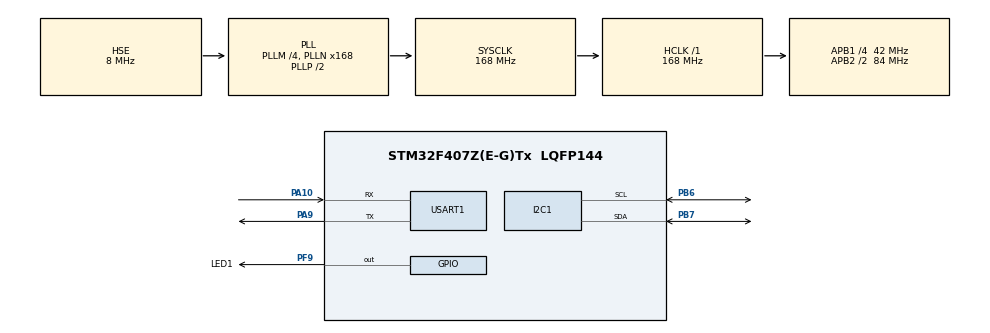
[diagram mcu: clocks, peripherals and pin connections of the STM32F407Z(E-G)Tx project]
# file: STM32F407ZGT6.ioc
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Mcu.Family=STM32F4
Mcu.Name=STM32F407Z(E-G)Tx
Mcu.Package=LQFP144
NVIC.I2C1_EV_IRQn=true\:0\:0\:false\:false\:true\:true\:true
NVIC.PriorityGroup=NVIC_PRIORITYGROUP_4
PA10.Mode=Asynchronous
PA10.Signal=USART1_RX
PA13.Mode=Serial_Wire
PA13.Signal=SYS_JTMS-SWDIO
PA14.Mode=Serial_Wire
PA14.Signal=SYS_JTCK-SWCLK
PA9.Mode=Asynchronous
PA9.Signal=USART1_TX
PB6.GPIO_Pu=GPIO_NOPULL
PB6.Mode=I2C
PB6.Signal=I2C1_SCL
PB7.Mode=I2C
PB7.Signal=I2C1_SDA
PC14-OSC32_IN.Mode=LSE-External-Oscillator
PC14-OSC32_IN.Signal=RCC_OSC32_IN
PC15-OSC32_OUT.Mode=LSE-External-Oscillator
PC15-OSC32_OUT.Signal=RCC_OSC32_OUT
PF9.GPIO_Label=LED1
PF9.Signal=GPIO_Output
PH0-OSC_IN.Mode=HSE-External-Oscillator
PH0-OSC_IN.Signal=RCC_OSC_IN
PH1-OSC_OUT.Mode=HSE-External-Oscillator
PH1-OSC_OUT.Signal=RCC_OSC_OUT
ProjectManager.HeapSize=0x200
ProjectManager.StackSize=0x1000
ProjectManager.TargetToolchain=MDK-ARM V5.32
RCC.48MHZClocksFreq_Value=112000000
RCC.AHBFreq_Value=168000000
RCC.APB1CLKDivider=RCC_HCLK_DIV4
RCC.APB1Freq_Value=42000000
RCC.APB1TimFreq_Value=84000000
RCC.APB2CLKDivider=RCC_HCLK_DIV2
RCC.APB2Freq_Value=84000000
RCC.APB2TimFreq_Value=168000000
RCC.CortexFreq_Value=168000000
RCC.HCLKFreq_Value=168000000
RCC.HSE_VALUE=8000000
RCC.HSI_VALUE=16000000
RCC.PLLM=4
RCC.PLLN=168
RCC.PLLQ=3
RCC.PLLSourceVirtual=RCC_PLLSOURCE_HSE
RCC.RCC_RTC_Clock_Source=RCC_RTCCLKSOURCE_LSE
RCC.RCC_RTC_Clock_SourceVirtual=RCC_RTCCLKSOURCE_LSE
RCC.SYSCLKFreq_VALUE=168000000
RCC.SYSCLKSource=RCC_SYSCLKSOURCE_PLLCLK
RCC.VCOOutputFreq_Value=336000000
USART1.VirtualMode=VM_ASYNC
board=custom

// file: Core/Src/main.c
/* USER CODE BEGIN Header */
/**
 ******************************************************************************
 * @file           : main.c
 * @brief          : Main program body
 ******************************************************************************
 * @attention
 *
 * Copyright (c) 2021 STMicroelectronics.
 * All rights reserved.
 *
 * This software is licensed under terms that can be found in the LICENSE file
 * in the root directory of this software component.
 * If no LICENSE file comes with this software, it is provided AS-IS.
 *
 ******************************************************************************
 */
/* USER CODE END Header */
#include "main.h"
#include "i2c.h"
#include "usart.h"
#include "gpio.h"

/* USER CODE BEGIN Includes */
#include <stdio.h>

/* USER CODE END Includes */

/* USER CODE BEGIN PD */
#define WHO_AM_I_REG 0x75
#define MPU6050_ADDR 0xd0
#define MPU6050_ID 0x68
/* USER CODE END PD */

/* USER CODE BEGIN PV */
uint8_t TBuffer[10];
uint8_t RBuffer[10];

/* USER CODE END PV */

void SystemClock_Config(void);

int main(void)
{

  /* MCU Configuration--------------------------------------------------------*/

  /* Reset of all peripherals, Initializes the Flash interface and the Systick. */
  HAL_Init();

  /* Configure the system clock */
  SystemClock_Config();

  /* Initialize all configured peripherals */
  MX_GPIO_Init();
  MX_USART1_UART_Init();
  MX_I2C1_Init();
  /* USER CODE BEGIN 2 */
  char a[1] = {0};
  scanf("%c", a);
  printf("Hello World!\r\n");

  uint8_t check = 0;
  if (HAL_I2C_Mem_Read(&hi2c1, MPU6050_ADDR, WHO_AM_I_REG, 1, &check, 1, 1000) == HAL_OK)
  {
    printf("OK: %x.\r\n", check);
  }

  /* USER CODE END 2 */

  /* Infinite loop */
  while (1)
  {

  }
}

void SystemClock_Config(void)
{
  RCC_OscInitTypeDef RCC_OscInitStruct = {0};
  RCC_ClkInitTypeDef RCC_ClkInitStruct = {0};

  /** Configure the main internal regulator output voltage
   */
  __HAL_RCC_PWR_CLK_ENABLE();
  __HAL_PWR_VOLTAGESCALING_CONFIG(PWR_REGULATOR_VOLTAGE_SCALE1);
  /** Initializes the RCC Oscillators according to the specified parameters
   * in the RCC_OscInitTypeDef structure.
   */
  RCC_OscInitStruct.OscillatorType = RCC_OSCILLATORTYPE_HSE;
  RCC_OscInitStruct.HSEState = RCC_HSE_ON;
  RCC_OscInitStruct.PLL.PLLState = RCC_PLL_ON;
  RCC_OscInitStruct.PLL.PLLSource = RCC_PLLSOURCE_HSE;
  RCC_OscInitStruct.PLL.PLLM = 4;
  RCC_OscInitStruct.PLL.PLLN = 168;
  RCC_OscInitStruct.PLL.PLLP = RCC_PLLP_DIV2;
  RCC_OscInitStruct.PLL.PLLQ = 3;
  if (HAL_RCC_OscConfig(&RCC_OscInitStruct) != HAL_OK)
  {
    Error_Handler();
  }
  /** Initializes the CPU, AHB and APB buses clocks
   */
  RCC_ClkInitStruct.ClockType = RCC_CLOCKTYPE_HCLK | RCC_CLOCKTYPE_SYSCLK | RCC_CLOCKTYPE_PCLK1 | RCC_CLOCKTYPE_PCLK2;
  RCC_ClkInitStruct.SYSCLKSource = RCC_SYSCLKSOURCE_PLLCLK;
  RCC_ClkInitStruct.AHBCLKDivider = RCC_SYSCLK_DIV1;
  RCC_ClkInitStruct.APB1CLKDivider = RCC_HCLK_DIV4;
  RCC_ClkInitStruct.APB2CLKDivider = RCC_HCLK_DIV2;

  if (HAL_RCC_ClockConfig(&RCC_ClkInitStruct, FLASH_LATENCY_5) != HAL_OK)
  {
    Error_Handler();
  }
}

/* USER CODE BEGIN 4 */
int fputc(int ch, FILE *f)
{
  HAL_UART_Transmit(&huart1, (uint8_t *)&ch, 1, 0xffff);
  return ch;
}
int fgetc(FILE *f)
{
  uint8_t ch = 0;
  HAL_UART_Receive(&huart1, &ch, 1, 0xffff);
  return ch;
}

/* USER CODE END 4 */

void Error_Handler(void)
{
  __disable_irq();
  while (1)
  {
  }
}
